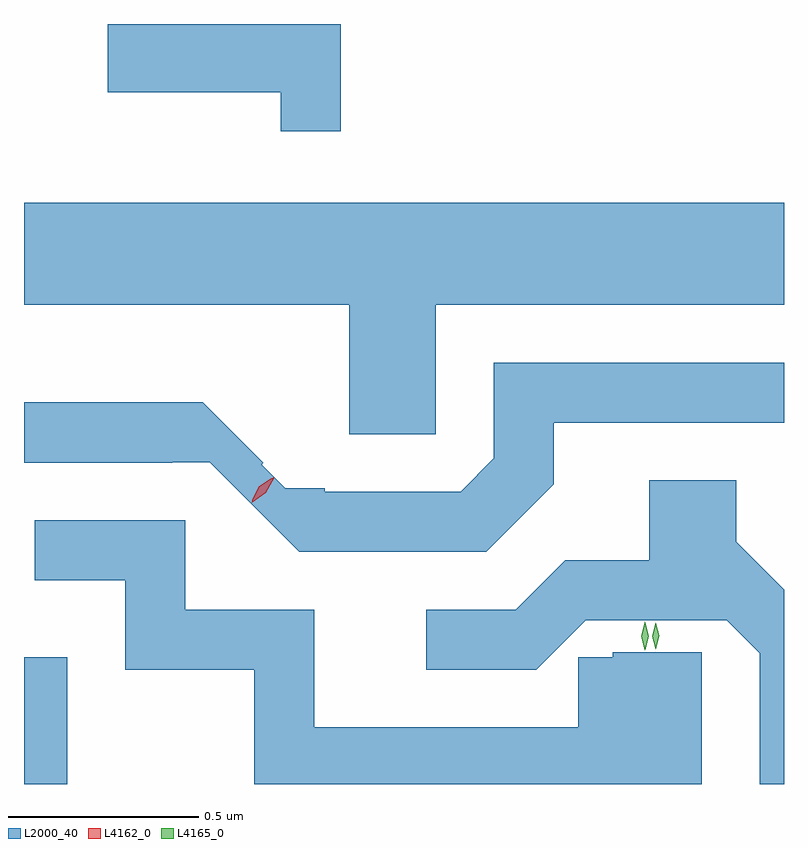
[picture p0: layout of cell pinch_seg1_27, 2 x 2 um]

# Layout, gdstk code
import gdstk
lib = gdstk.Library(unit=1e-6, precision=1e-09)
def R(c, l, rs):  # rectangles x0, y0, x1, y1
    for r in rs: c.add(gdstk.rectangle(r[:2], r[2:], *l))
def P(c, l, *ps):  # polygons
    for p in ps: c.add(gdstk.Polygon(p, *l))
L2000_40 = (2000, 40)
L4162_0 = (4162, 0)
L4165_0 = (4165, 0)

pinch_seg1_27 = lib.new_cell('pinch_seg1_27')
R(pinch_seg1_27, L2000_40, [(1859.235,882.775,1859.349,883.108)])
P(pinch_seg1_27, L2000_40, [(1860.069,884.775),(1859.456,884.775),(1859.456,884.596),(1859.911,884.596),(1859.911,884.493),(1860.069,884.493)],
  [(1860.319,884.036),(1861.235,884.036),(1861.235,884.304),(1859.235,884.304),(1859.235,884.036),(1860.091,884.036),(1860.091,883.696),(1860.319,883.696)],
  [(1860.629,883.564),(1860.629,883.726),(1861.235,883.726),(1861.235,883.884),(1860.471,883.884),(1860.471,883.632),(1860.384,883.544),(1860.027,883.544),(1860.027,883.553),(1859.923,883.553),(1859.861,883.615),(1859.865,883.62),(1859.706,883.779),(1859.235,883.779),(1859.235,883.621),(1859.625,883.621),(1859.625,883.622),(1859.724,883.622),(1859.959,883.386),(1860.452,883.386)],
  [(1861.235,883.286),(1861.109,883.412),(1861.109,883.574),(1860.881,883.574),(1860.881,883.364),(1860.659,883.364),(1860.529,883.234),(1860.293,883.234),(1860.293,883.076),(1860.583,883.076),(1860.713,883.206),(1861.084,883.206),(1861.171,883.119),(1861.171,882.775),(1861.235,882.775)],
  [(1861.019,883.019),(1861.018,883.019),(1861.018,883.122),(1860.784,883.122),(1860.784,883.109),(1860.694,883.109),(1860.694,882.924),(1859.999,882.924),(1859.999,883.234),(1859.659,883.234),(1859.659,883.469),(1859.263,883.469),(1859.263,883.311),(1859.501,883.311),(1859.501,883.076),(1859.841,883.076),(1859.841,882.775),(1861.019,882.775)])
P(pinch_seg1_27, L4162_0, [(1859.836,883.521),(1859.836,883.522),(1859.853,883.557),(1859.885,883.58),(1859.886,883.58),(1859.886,883.579),(1859.868,883.544),(1859.836,883.521)],
  [(1859.834,883.515),(1859.834,883.516),(1859.856,883.555),(1859.892,883.582),(1859.893,883.582),(1859.893,883.581),(1859.871,883.542),(1859.834,883.515)])
P(pinch_seg1_27, L4165_0, [(1860.869,883.127),(1860.869,883.128),(1860.859,883.164),(1860.869,883.201),(1860.869,883.202),(1860.87,883.201),(1860.879,883.164),(1860.87,883.128)],
  [(1860.898,883.129),(1860.897,883.13),(1860.888,883.164),(1860.897,883.199),(1860.897,883.2),(1860.898,883.199),(1860.907,883.165),(1860.898,883.13)])

lib.write_gds('pinch_seg1_27.gds')
